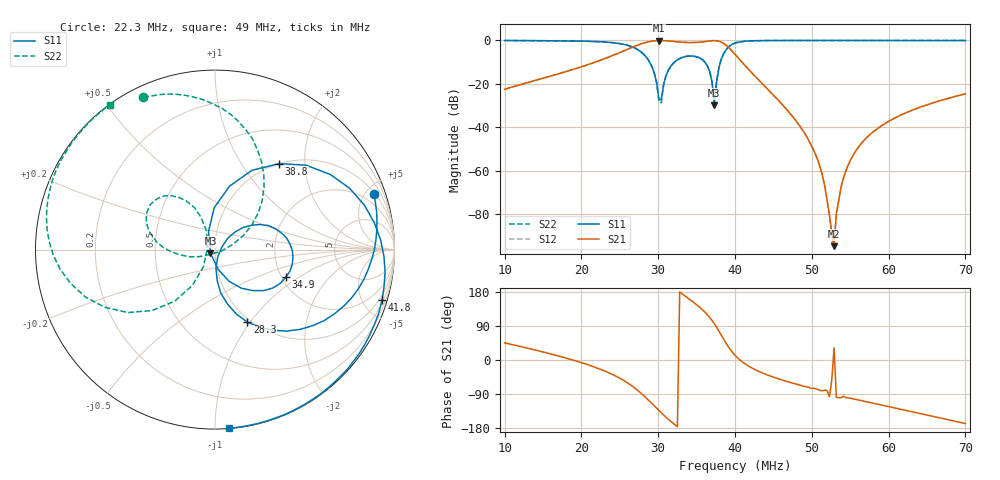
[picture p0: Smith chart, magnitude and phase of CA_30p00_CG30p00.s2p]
#  HZ  S  RI  R  50.00
! Rohde & Schwarz ZVT8 8Ports - Version 4.11 - 1300.0000k08 SN: 100242
! Date: 2026-07-31 14:39:29
! Measurements: S11 S21 S12 S22
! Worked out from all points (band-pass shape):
!   201 points, 10 MHz to 70 MHz, reference 50 ohm
!   highest |S21| = -0.05 dB at 30.1 MHz (marker M1); lowest = -94.8 dB at 52.9 MHz (marker M2)
!   |S21| within 3 dB of the highest: 26.68 MHz to 39.12 MHz (12.43 MHz wide, 37.8 % of centre)
!   lowest |S11| = -29.8 dB at 37.3 MHz (marker M3), VSWR 1.07, Z = 47.5 - j1.92 ohm
!   |S11| at or under -10 dB: 28.88 MHz to 32.12 MHz (3.232 MHz wide, 10.6 % of centre); 36.07 MHz to 38.11 MHz (2.04 MHz wide, 5.5 % of centre)
!   |S22| runs from -28.7 to 0.0 dB; largest |S21 - S12| = 0.003
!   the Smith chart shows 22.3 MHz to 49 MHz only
!   S11 on the Smith chart (normalised r, x): 22.3 MHz: 1.14, +5.70; 28.3 MHz: 0.96, -0.97; 34.9 MHz: 2.10, -0.79; 38.8 MHz: 1.00, +1.49; 41.8 MHz: 0.63, -6.67; 49 MHz: 0.00, -1.08
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1e7  -0.4039 0.9109  0.0527 0.0531  0.0525 0.0532  -0.9179 0.3874
2.02e7  0.7543 0.599  0.2511 -0.0363  0.2503 -0.0361  -0.561 0.7833
2.23e7  0.8844 0.3072  0.3135 -0.1335  0.313 -0.1327  -0.3985 0.8474
2.53e7  0.7981 -0.2192  0.346 -0.4338  0.3456 -0.433  -0.0426 0.8257
2.83e7  0.1809 -0.4043  -0.1149 -0.8821  -0.1165 -0.8808  0.2734 0.3501
2.95e7  0.0127 -0.1737  -0.5095 -0.8356  -0.508 -0.834  0.1563 0.0768
3.01e7  0.0148 -0.0423  -0.6829 -0.722  -0.6817 -0.7211  0.0383 -0.00681
3.19e7  0.2536 0.1396  -0.9246 -0.2253  -0.9228 -0.2255  -0.289 0.0125
3.49e7  0.3943 -0.1534  -0.7592 0.4835  -0.7577 0.4808  -0.3134 0.2882
3.67e7  0.079 -0.1768  -0.3728 0.9001  -0.3717 0.8977  -0.0776 0.1793
3.73e7  -0.0253 -0.0202  -0.1028 0.9843  -0.1039 0.9835  -0.0418 0.00993
3.79e7  -0.00462 0.2329  0.2234 0.9344  0.2215 0.9348  -0.1249 -0.1983
3.88e7  0.3566 0.4789  0.5527 0.563  0.5522 0.5614  -0.486 -0.3506
4e7  0.8314 0.2486  0.4691 0.1044  0.4684 0.1044  -0.863 -0.109
4.18e7  0.9308 -0.2827  0.2035 -0.0606  0.2028 -0.0605  -0.9293 0.2874
4.9e7  0.0779 -0.9958  0.00267 -0.00715  0.00271 -0.00701  -0.5838 0.8078
5.02e7  -0.0762 -0.9951  0.000812 -0.00294  0.000815 -0.00298  -0.5291 0.8449
5.23e7  -0.333 -0.9407  -1.1e-05 -9.33e-05  1.08e-05 -9.56e-05  -0.4359 0.8965
5.29e7  -0.4015 -0.9135  1.54e-05 9.71e-06  2.78e-05 6.12e-06  -0.4096 0.9085
5.53e7  -0.6429 -0.7631  -0.000454 -0.0021  -0.00045 -0.0021  -0.3056 0.9485
6.01e7  -0.9483 -0.3042  -0.0077 -0.0117  -0.00766 -0.0116  -0.1033 0.9915
7e7  -0.6725 0.7332  -0.0576 -0.0125  -0.0575 -0.0124  0.3025 0.9486
